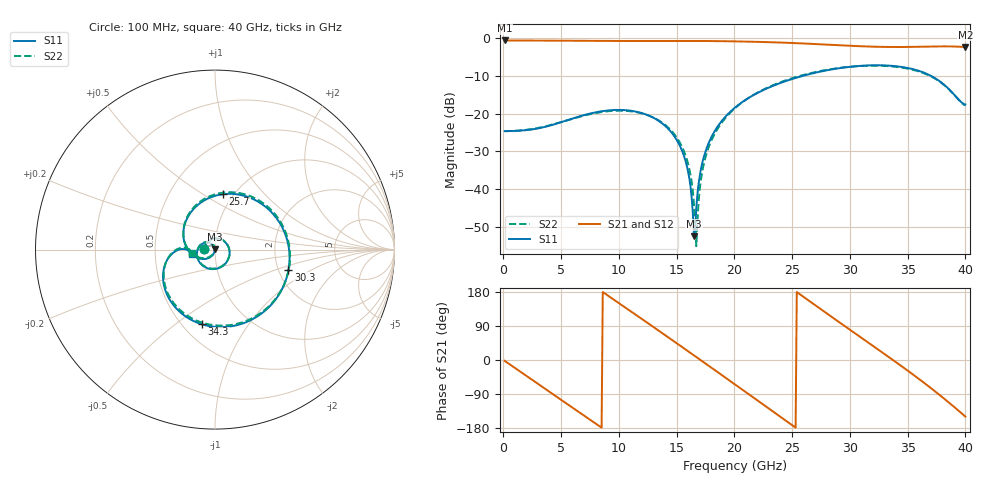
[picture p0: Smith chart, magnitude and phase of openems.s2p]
! C_s8_ap1200: L1→L8, antipad Ø1.2 on every plane
! stackup: 8-layer 1.6 mm FR-4 (generic)
! ports: 1, 2
! openEMS 0.37.0, staircase, fine mesh (dfine 0.0175 mm), 1375164 cells
# Hz S RI R 50
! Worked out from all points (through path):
!   400 points, 100 MHz to 40 GHz, reference 50 ohm
!   highest |S21| = -0.53 dB at 100 MHz (marker M1); lowest = -2.3 dB at 40 GHz (marker M2)
!   group delay of S21, straight-line fit = 59.8 ps
!   lowest |S11| = -52.6 dB at 16.5 GHz (marker M3), VSWR 1.00, Z = 49.8 + j0.106 ohm
!   |S11| at or under -10 dB: start of sweep to 25.84 GHz; 37.06 GHz to end of sweep
!   |S22| runs from -55.2 to -7.2 dB; largest |S21 - S12| = 0.0045
!   S11 on the Smith chart (normalised r, x): 100 MHz: 0.89, +0.01; 25.7 GHz: 0.90, +0.61; 30.3 GHz: 2.26, -0.63; 34.3 GHz: 0.62, -0.63; 40 GHz: 0.77, -0.04
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1e8  -0.0587 0.00358  0.9405 -0.0347  0.9404 -0.0347  -0.0586 0.00361
3.6e9  0.0396 0.0539  0.2286 -0.9081  0.2287 -0.908  0.0396 0.0551
6.8e9  0.0664 -0.067  -0.7417 -0.5593  -0.7417 -0.5595  0.0669 -0.0647
9.7e9  -0.0532 -0.099  -0.8478 0.3716  -0.8481 0.3719  -0.0524 -0.0964
1.17e10  -0.1006 -0.0295  -0.3815 0.8444  -0.3813 0.8447  -0.1001 -0.0266
1.34e10  -0.076 0.0284  0.1872 0.9092  0.1875 0.9092  -0.076 0.0319
1.57e10  -0.0103 0.0234  0.8098 0.4548  0.81 0.4548  -0.0101 0.0281
1.62e10  -0.00359 0.0101  0.8798 0.2961  0.8801 0.2961  -0.00327 0.015
1.65e10  -0.00209 0.00107  0.9071 0.1954  0.9074 0.1955  -0.00168 0.00609
1.67e10  -0.00223 -0.00515  0.9189 0.1269  0.9192 0.1269  -0.00174 -6.85e-05
1.7e10  -0.00416 -0.0145  0.9267 0.0228  0.9271 0.0228  -0.00357 -0.00937
1.75e10  -0.012 -0.0293  0.9135 -0.1504  0.914 -0.1506  -0.0113 -0.0241
2.01e10  -0.1173 -0.0354  0.3791 -0.8327  0.3788 -0.8335  -0.1164 -0.0307
2.25e10  -0.1749 0.1094  -0.4161 -0.7953  -0.417 -0.7946  -0.1756 0.114
2.57e10  0.0444 0.3086  -0.8551 0.1093  -0.8537 0.1088  0.0402 0.3167
2.67e10  0.1669 0.2986  -0.7417 0.4113  -0.741 0.4097  0.1623 0.3092
2.85e10  0.3598 0.1503  -0.3084 0.7611  -0.3106 0.7599  0.3576 0.1663
3.03e10  0.4093 -0.114  0.2268 0.7628  0.2244 0.7652  0.4137 -0.0958
3.34e10  0.0677 -0.4303  0.7648 0.095  0.7691 0.096  0.0786 -0.4211
3.43e10  -0.0728 -0.4161  0.7518 -0.1666  0.7559 -0.1681  -0.0633 -0.4095
3.74e10  -0.2809 -0.0913  0.0904 -0.7784  0.0881 -0.7808  -0.2781 -0.0857
4e10  -0.1302 -0.0268  -0.6613 -0.3914  -0.6634 -0.3911  -0.128 -0.0177
